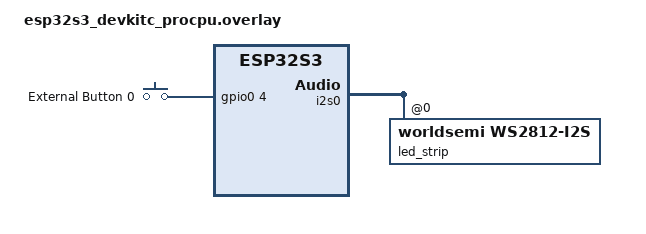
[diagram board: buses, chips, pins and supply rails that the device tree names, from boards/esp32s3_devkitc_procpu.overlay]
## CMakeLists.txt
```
# @file      CMakeLists.txt
# @author    Theodore Bardy
#
# @note      This file is part of Witekio's Zephyr Demo project
# @brief     Root CMake file

# Set minimum CMake version
cmake_minimum_required(VERSION 3.20.0)

# Demo runs on ESP32-S3-DevKitC-1 (v1.0)
set(BOARD
    "esp32s3_devkitc/esp32s3/procpu"
    CACHE STRING "Board for the Zephyr application")

# Set devicetree overlays
set(DTC_OVERLAY_FILE boards/esp32s3_devkitc_procpu.overlay)

# Pull Zephyr build system
find_package(Zephyr REQUIRED HINTS $ENV{ZEPHYR_BASE})

# Include subdirectories
include(${CMAKE_CURRENT_LIST_DIR}/src/network/CMakeLists.txt)
include(${CMAKE_CURRENT_LIST_DIR}/src/ota/CMakeLists.txt)
include(${CMAKE_CURRENT_LIST_DIR}/src/ui/CMakeLists.txt)

# Define project
project(zephyr-witekio-demo)
target_sources(app PRIVATE src/main.c)

# Install certificate if a hosted Mender server is used
if(CONFIG_MENDER_SERVER_HOST_US OR CONFIG_MENDER_SERVER_HOST_US)
  # Links to certificates used for hosted Mender US
  if(CONFIG_MENDER_SERVER_HOST_US)
    set(PRIMARY_CERTIFICATE_LINK
        "https://docs.mender.io/releases/certs/AmazonRootCA1.der")
    set(PRIMARY_CERTIFICATE_SHA256
        "8ecde6884f3d87b1125ba31ac3fcb13d7016de7f57cc904fe1cb97c6ae98196e")

    set(SECONDARY_CERTIFICATE_LINK
        "https://docs.mender.io/releases/certs/GoogleTrustServicesR4.der")
    set(SECONDARY_CERTIFICATE_SHA256
        "349dfa4058c5e263123b398ae795573c4e1313c83fe68f93556cd5e8031b3c7d")
    # Links to certificates used for hosted Mender EU
  elseif(CONFIG_MENDER_SERVER_HOST_EU)
    set(PRIMARY_CERTIFICATE_LINK
        "https://docs.mender.io/releases/certs/isrgrootx1.der")
    set(PRIMARY_CERTIFICATE_SHA256
        "96bcec06264976f37460779acf28c5a7cfe8a3c0aae11a8ffcee05c0bddf08c6")

    set(SECONDARY_CERTIFICATE_LINK
        "https://docs.mender.io/releases/certs/GoogleTrustServicesR4.der")
    set(SECONDARY_CERTIFICATE_SHA256
        "349dfa4058c5e263123b398ae795573c4e1313c83fe68f93556cd5e8031b3c7d")
  endif()

  set(PRIMARY_CERTIFICATE "${CMAKE_CURRENT_BINARY_DIR}/PrimaryCertificate.cer")
  file(DOWNLOAD ${PRIMARY_CERTIFICATE_LINK} ${PRIMARY_CERTIFICATE}
       EXPECTED_HASH SHA256=${PRIMARY_CERTIFICATE_SHA256})

  set(SECONDARY_CERTIFICATE
      "${CMAKE_CURRENT_BINARY_DIR}/SecondaryCertificate.cer")
  file(DOWNLOAD ${SECONDARY_CERTIFICATE_LINK} ${SECONDARY_CERTIFICATE}
       EXPECTED_HASH SHA256=${SECONDARY_CERTIFICATE_SHA256})
else()
  # This is an impossible configuration, MENDER_SERVER_HOST is a choice
  message(
    WARNING
      "Either CONFIG_MENDER_SERVER_HOST_US, CONFIG_MENDER_SERVER_HOST_EU or CONFIG_MENDER_SERVER_HOST_ON_PREM needs to be selected"
  )
endif()

if(PRIMARY_CERTIFICATE)
  add_custom_target(certificate_one DEPENDS ${PRIMARY_CERTIFICATE})
  add_dependencies(app certificate_one)

  generate_inc_file_for_target(
    certificate_one ${PRIMARY_CERTIFICATE}
    "${ZEPHYR_BINARY_DIR}/include/generated/PrimaryCertificate.cer.inc")
endif()

if(SECONDARY_CERTIFICATE)
  add_custom_target(certificate_two DEPENDS ${SECONDARY_CERTIFICATE})
  add_dependencies(app certificate_two)

  generate_inc_file_for_target(
    certificate_two ${SECONDARY_CERTIFICATE}
    "${ZEPHYR_BINARY_DIR}/include/generated/SecondaryCertificate.cer.inc")
endif()

# Set TLS configuration
file(COPY_FILE "config-tls-mender.h"
     "${ZEPHYR_BINARY_DIR}/include/generated/config-tls-mender.h")
```

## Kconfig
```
# @file      Kconfig
# @author    Theodore Bardy
#
# @note      This file is part of Witekio's Zephyr Demo project
# @brief     Witekio's Zephyr Demo Kconfig file

mainmenu "Witekio's Zephyr Demo Configuration"

menu "Wi-Fi Configuration"

config WIFI_SSID
    string "Wi-Fi SSID"
    help
      Set the Wi-Fi SSID.

config WIFI_PASSWORD
    string "Wi-Fi Password"
    help
      Set the Wi-Fi password.

endmenu

source "Kconfig.zephyr"
```

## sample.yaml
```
common:
  tags:
    - wifi
    - mender
sample:
  name: Witekio Zephyr demo
  description: Demo application for Witekio meetups using Zephyr RTOS
```

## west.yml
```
# @file      west.yml
# @author    Theodore Bardy
#
# @note      This file is part of Witekio's Zephyr Demo project
# @brief     West manifest file including Zephyr module

manifest:
  projects:
    - name: zephyr
      url: https://github.com/zephyrproject-rtos/zephyr
      revision: v4.2.0
      import: true

    - name: mender-mcu
      url: https://github.com/mendersoftware/mender-mcu
      revision: 87b880a5f7987ae169a681dc8ef1b266089871ef
      path: modules/mender-mcu
      import: true
```

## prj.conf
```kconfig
# @file      prj.conf
# @author    Theodore Bardy
#
# @note      This file is part of Witekio's Zephyr Demo project
# @brief     Application config file

########################################################
# Application definitions -- DO NOT COMMIT
########################################################
CONFIG_MENDER_ARTIFACT_NAME="release.1.0.0"
CONFIG_MENDER_SERVER_TENANT_TOKEN="t6Ws4Z82NEiaub-R2ftu9RYoYW6V0JemsM49BLlGEwY"
CONFIG_WIFI_SSID="WitekioPSK"
CONFIG_WIFI_PASSWORD="v.w4A7btQS(#mH)ZZy>y"

########################################################
# Drivers
########################################################
CONFIG_LED_STRIP=y

########################################################
# Logging
########################################################
CONFIG_LOG=y
CONFIG_LOG_SPEED=y
CONFIG_LOG_MODE_OVERFLOW=y
CONFIG_LOG_DEFAULT_LEVEL=3
CONFIG_CBPRINTF_FP_SUPPORT=y
# Use ISO 8601 timestamp format in logs (required by the Mender Deployment Logs feature)
CONFIG_POSIX_C_LANG_SUPPORT_R=y
CONFIG_LOG_OUTPUT_FORMAT_ISO8601_TIMESTAMP=y

########################################################
# Mbed-TLS
########################################################
CONFIG_MBEDTLS=y
CONFIG_MBEDTLS_KEY_EXCHANGE_ECDHE_PSK_ENABLED=y
CONFIG_MBEDTLS_KEY_EXCHANGE_ECDHE_RSA_ENABLED=y
CONFIG_MBEDTLS_KEY_EXCHANGE_ECDHE_ECDSA_ENABLED=y
CONFIG_MBEDTLS_ECDH_C=y
CONFIG_MBEDTLS_ECDSA_C=y
CONFIG_MBEDTLS_ECP_C=y
# TODO: SECP256R1 was used as a sane default for the autogenerated key feature. Can we remove
# and reuse instead SECP384R1 (already required for the Google cert)?
CONFIG_MBEDTLS_ECP_DP_SECP256R1_ENABLED=y
CONFIG_MBEDTLS_ECP_DP_SECP384R1_ENABLED=y
CONFIG_MBEDTLS_ECP_NIST_OPTIM=y
CONFIG_MBEDTLS_CIPHER_CCM_ENABLED=y
CONFIG_MBEDTLS_CIPHER_GCM_ENABLED=y
CONFIG_MBEDTLS_SHA384=y
CONFIG_MBEDTLS_GENPRIME_ENABLED=y
CONFIG_MBEDTLS_PEM_CERTIFICATE_FORMAT=y
CONFIG_MBEDTLS_SERVER_NAME_INDICATION=y
CONFIG_MBEDTLS_PK_WRITE_C=y
CONFIG_MBEDTLS_SSL_MAX_CONTENT_LEN=16384
CONFIG_MBEDTLS_ENABLE_HEAP=y
CONFIG_MBEDTLS_HEAP_SIZE=40960
CONFIG_MBEDTLS_ENTROPY_POLL_ZEPHYR=y
CONFIG_MBEDTLS_ENTROPY_C=y

# We need to use our own extension to the config file to limit the size of the
# TLS output buffer. See the config and/or MEN-7807 for details.
CONFIG_MBEDTLS_USER_CONFIG_ENABLE=y
CONFIG_MBEDTLS_USER_CONFIG_FILE="config-tls-mender.h"

########################################################
# Mender
########################################################
CONFIG_MENDER_MCU_CLIENT=y
# CONFIG_MENDER_LOG_LEVEL_INF=y
CONFIG_MENDER_LOG_LEVEL_DBG=y
# Demo polling intervals
CONFIG_MENDER_CLIENT_UPDATE_POLL_INTERVAL=30
CONFIG_MENDER_CLIENT_INVENTORY_REFRESH_INTERVAL=60
CONFIG_MENDER_RETRY_ERROR_BACKOFF=5
CONFIG_MENDER_RETRY_ERROR_MAX_BACKOFF=15
# Mender Server selection - sets the Server URL and adds the certificates
CONFIG_MENDER_SERVER_HOST_US=y
# For easier demo, use partition with storage label from Devicetree
CONFIG_MENDER_STORAGE_PARTITION_STORAGE_PARTITION=n
CONFIG_MENDER_STORAGE_PARTITION_MENDER_PARTITION=y
# Use the Mender Zephyr image update module
# https://github.com/mendersoftware/mender-mcu?tab=readme-ov-file#zephyr-image-update-module
CONFIG_MENDER_ZEPHYR_IMAGE_UPDATE_MODULE=y

########################################################
# Network
########################################################
# IP / DHCP
CONFIG_NET_IPV6=n
CONFIG_NET_IPV4=y
CONFIG_NET_DHCPV4=y
# Network event notifications
CONFIG_NET_MGMT=y
CONFIG_NET_MGMT_EVENT=y
CONFIG_NET_MGMT_EVENT_INFO=y
CONFIG_NET_MGMT_EVENT_STACK_SIZE=2048
# Enable TLS
CONFIG_NET_SOCKETS_SOCKOPT_TLS=y
CONFIG_NET_SOCKETS_TLS_MAX_CONTEXTS=2
CONFIG_NET_MAX_CONN=16
# DNS configuration
CONFIG_DNS_RESOLVER_ADDITIONAL_BUF_CTR=5
CONFIG_DNS_RESOLVER_ADDITIONAL_QUERIES=2
CONFIG_DNS_RESOLVER_MAX_SERVERS=2
CONFIG_DNS_NUM_CONCUR_QUERIES=5
# Wi-Fi
CONFIG_WIFI=y

########################################################
# Zephyr OS general configurations
########################################################
# Default is 1024
# https://docs.zephyrproject.org/latest/kconfig.html#CONFIG_MAIN_STACK_SIZE
CONFIG_MAIN_STACK_SIZE=2048
# Default is 1024
# https://docs.zephyrproject.org/latest/kconfig.html#CONFIG_SYSTEM_WORKQUEUE_STACK_SIZE
CONFIG_SYSTEM_WORKQUEUE_STACK_SIZE=4096
# Default is 4
# https://docs.zephyrproject.org/latest/kconfig.html#CONFIG_ZVFS_OPEN_MAX
CONFIG_ZVFS_OPEN_MAX=5

########################################################
# Debug tools
########################################################
# Coredumps
CONFIG_DEBUG_COREDUMP=y
CONFIG_DEBUG_COREDUMP_BACKEND_LOGGING=y
CONFIG_DEBUG_COREDUMP_MEMORY_DUMP_LINKER_RAM=n
CONFIG_DEBUG_COREDUMP_MEMORY_DUMP_MIN=y
# Asserts
CONFIG_ASSERT=y
```

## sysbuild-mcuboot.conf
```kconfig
# @file      sysbuild-mcuboot.conf
# @author    Theodore Bardy
#
# @note      This file is part of Witekio's Zephyr Demo project
# @brief     Sysbuild configuration for MCUboot

# Enable MCUboot
SB_CONFIG_BOOTLOADER_MCUBOOT=y

# Enable swap algorithm so we can revert in case of a rollback
SB_CONFIG_MCUBOOT_MODE_SWAP_WITHOUT_SCRATCH=y
```

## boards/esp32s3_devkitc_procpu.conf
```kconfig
# @file      esp32s3_devkitc_procpu.conf
# @author    Theodore Bardy
#
# @note      This file is part of Witekio's Zephyr Demo project
# @brief     esp32s3_devkitc_procpu config file

# Driver
CONFIG_GPIO=y
CONFIG_I2S=y

# Network
CONFIG_ESP32_WIFI_STA_AUTO_DHCPV4=y

# Power Management
CONFIG_POWEROFF=y
```

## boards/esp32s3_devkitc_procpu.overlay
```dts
/**
 * @file      esp32s3_devkitc_procpu.overlay
 * @author    Theodore Bardy
 *
 * @note      This file is part of Witekio's Zephyr Demo project
 * @brief     Devicetree overlay for the esp32s3_devkitc/esp32s3/procpu board
 */

#include <zephyr/dt-bindings/led/led.h>
#include <zephyr/dt-bindings/gpio/gpio.h>

/ {
    aliases {
        led-strip = &led_strip;
        bt0 = &bt0;
    };

    wifi_ap: wifi_ap {
        compatible = "espressif,esp32-wifi";
        status = "okay";
    };

    buttons {
        compatible = "gpio-keys";
        bt0: bt0 {
            gpios = <&gpio0 4 (GPIO_PULL_DOWN | GPIO_ACTIVE_HIGH)>;
            label = "External Button 0";
            status = "okay";
        };
    };
};

&deep_sleep {
    status = "okay";
};

&gpio0 {
    status = "okay";
};

&i2s0_default {
    group1 {
        pinmux = <I2S0_O_SD_GPIO48>;
        output-enable;
    };
};

i2s_led: &i2s0 {
    status = "okay";

    dmas = <&dma 3>;
    dma-names = "tx";

    led_strip: ws2812@0 {
        compatible = "worldsemi,ws2812-i2s";

        reg = <0>;
        chain-length = <1>;
        color-mapping = <LED_COLOR_ID_GREEN
                 LED_COLOR_ID_RED
                 LED_COLOR_ID_BLUE>;
        reset-delay = <500>;
    };
};

&dma {
    status = "okay";
};

&flash0 {
    partitions {
        compatible = "fixed-partitions";
        #address-cells = <1>;
        #size-cells = <1>;

        /*
          An extra partition starting right after the last partition defined in
          the board's device tree (actually shared by 8M Espressif boards, at
          zephyr/dts/common/espressif/partitions_0x0_default_8M.dtsi).
          WARNING: Needs to be made bigger if more sectors or a non-zero sector
                   offset are to be used.
        */
        mender_partition: partition@7F1000 {
            label = "mender-partition";
            reg = <0x7F1000 DT_SIZE_K(16)>;
        };
    };
};
```

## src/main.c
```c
/**
 * @file      main.c
 * @author    Theodore Bardy
 *
 * @note      This file is part of Witekio's Zephyr Demo project
 * @brief     Entry point of the Witekio's Zephyr Demo
 */

#include <zephyr/logging/log.h>
LOG_MODULE_REGISTER(main);

#include <zephyr/kernel.h>
#include <zephyr/device.h>
#include <zephyr/drivers/gpio.h>

#include <esp_sleep.h>

#include "led.h"
#include "wifi_agent.h"
#include "ota_agent.h"

#define BT0_NODE DT_ALIAS(bt0)
#if !DT_NODE_HAS_STATUS_OKAY(BT0_NODE)
#error Unsupported board: bt0 devicetree alias is not defined
#endif
static const struct gpio_dt_spec bt0 = GPIO_DT_SPEC_GET(BT0_NODE, gpios);
static struct gpio_callback bt0_cb_data;
K_SEM_DEFINE(button_pressed_sem, 0, 1);


static void cooldown_expired(struct k_work *work)
{
    ARG_UNUSED(work);
    k_sem_give(&button_pressed_sem);
}
static K_WORK_DELAYABLE_DEFINE(cooldown_work, cooldown_expired);

void button_pressed(const struct device *dev, struct gpio_callback *cb, uint32_t pins)
{
    // Debounce the button press by scheduling a delayed work
    k_work_reschedule(&cooldown_work, K_MSEC(15));
}

#define APP_THREAD_STACK_SIZE (2048)
#define APP_THREAD_PRIORITY   (5)

static void enter_deep_sleep(void)
{
    LOG_INF("Preparing for deep sleep.\n");

    esp_sleep_enable_ext0_wakeup(bt0.pin, 1);

    LOG_INF("Entering deep sleep NOW.\n");
    k_msleep(2000);
    esp_deep_sleep_start();

    // Code never returns here
}

void
app_thread(void *arg1, void *arg2, void *arg3)
{
    if (!gpio_is_ready_dt(&bt0))
    {
        LOG_ERR("Error: button device %s is not ready", bt0.port->name);
        goto ERROR;
    }
    int ret = gpio_pin_configure_dt(&bt0, GPIO_INPUT);
    if (ret != 0)
    {
        LOG_ERR("Error %d: failed to configure %s pin %d",
                ret,
                bt0.port->name,
                bt0.pin);
        goto ERROR;
    }
    ret = gpio_pin_interrupt_configure_dt(&bt0, GPIO_INT_LEVEL_ACTIVE);
    if (ret != 0)
    {
        LOG_ERR("Error %d: failed to configure interrupt on %s pin %d",
                ret,
                bt0.port->name,
                bt0.pin);
        goto ERROR;
    }
    gpio_init_callback(&bt0_cb_data, button_pressed, BIT(bt0.pin));
    gpio_add_callback(bt0.port, &bt0_cb_data);
    ui_led_set(UI_LED_COLOR_OFF);

    while (1)
    {
        k_sem_take(&button_pressed_sem, K_FOREVER);
        LOG_INF("Button pressed, connect to Wi-Fi update...");
        wifi_agent_connect();

        k_sem_take(&button_pressed_sem, K_FOREVER);
        LOG_INF("Button pressed again, putting device to sleep...");
        wifi_agent_disconnect();
        k_msleep(2000);
        ui_led_set(UI_LED_COLOR_OFF);

        enter_deep_sleep();
    }

ERROR:
    while (1)
    {
        // Inifinite loop on error
        k_sleep(K_FOREVER);
        z_fatal_error(K_ERR_CPU_EXCEPTION, 0);
    }    
}
K_THREAD_DEFINE(app_thread_id,
                APP_THREAD_STACK_SIZE,
                app_thread,
                NULL,
                NULL,
                NULL,
                APP_THREAD_PRIORITY,
                0,
                0);

int
main (void)
{
    LOG_INF("Witekio Zephyr's app running on %s", CONFIG_BOARD_TARGET);

    // Initialize subsystems
    wifi_agent_init();
    ota_agent_init();
    ui_led_init();

    while (1)
    {
        k_sleep(K_FOREVER);
    }

    return 0;
}
```
